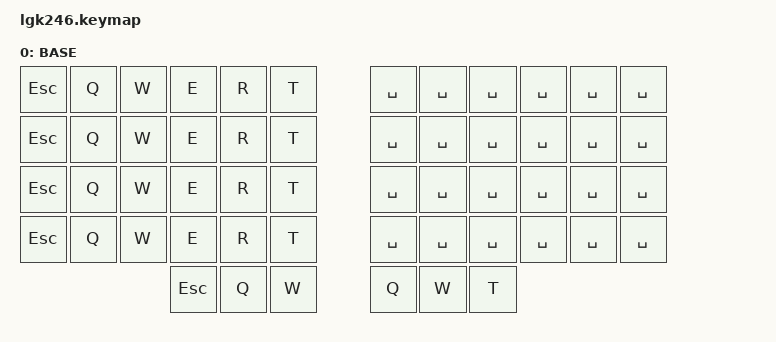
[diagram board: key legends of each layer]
//
//                                                        ▀▀▀▀▀     ▀▀▀▀▀          ▀▀█▀▀
//                                                        ▄▀▀▀▄  ▄  ▄▀▀▀▄  ▄  ▄▀▀▀▄  █  ▄▀▀▀▄
//                                                        █   █  █  █   █  █  █   █  █  █   █
//                                                         ▀▀▀   █   ▀▀▀   █   ▀▀▀   ▀   ▀▀▀
//                                                               █      ▄▄▄█▄▄▄    █   █  
//                                                               ▀      █  █  █     █▄█
//                                                             ▀▀▀▀▀    █  █  █      ▀
//                                                                      ▀  ▀  ▀
//
// ▄▄▄▄▄▄▄▄▄▄▄▄▄▄▄▄▄▄▄▄▄▄▄▄▄▄▄▄▄▄▄▄▄▄▄▄▄▄▄▄▄▄▄▄▄▄▄▄▄▄▄▄▄▄▄▄▄▄▄▄▄▄▄▄▄▄▄▄▄▄▄▄▄▄▄▄▄▄▄▄▄▄▄▄▄▄▄▄▄▄▄▄▄▄▄▄▄▄▄▄▄▄▄▄▄▄▄▄▄▄▄▄▄▄▄▄▄▄▄▄▄▄▄▄▄▄▄▄▄▄▄▄▄▄▄▄▄▄▄▄▄▄▄▄▄▄▄▄▄
       

#include <behaviors.dtsi>
#include <dt-bindings/zmk/keys.h>
#include <dt-bindings/zmk/bt.h>
#include <dt-bindings/zmk/outputs.h>

#define BASE 0


&mt {
  quick-tap-ms = <100>;
  global-quick-tap;
  flavor = "tap-preferred";
  tapping-term-ms = <170>;
};

/ {
    combos {
            compatible = "zmk,combos";
            combo_esc {
                timeout-ms = <50>;
                key-positions = <0 1>;
                bindings = <&kp ESC>;
            };
    };

    macros {
        gif: gif {
            label = "giphy";
            compatible = "zmk,behavior-macro";
            #binding-cells = <0>;
            bindings
                = <&macro_press &kp LSHFT>
                , <&macro_tap &kp N2>
                , <&macro_release &kp LSHFT>
                , <&macro_tap &kp G &kp I &kp F>
                ;
        };
    };

        keymap {
                compatible = "zmk,keymap";
// ▄▄▄▄▄▄▄▄▄▄▄▄▄▄▄▄▄▄▄▄▄▄▄▄▄▄▄▄▄▄▄▄▄▄▄▄▄▄▄▄▄▄▄▄▄▄▄▄▄▄▄▄▄▄▄▄▄▄▄▄▄▄▄▄▄▄▄▄▄▄▄▄▄▄▄▄▄▄▄▄▄▄▄▄▄▄▄▄▄▄▄▄▄▄▄▄▄▄▄▄▄▄▄▄▄▄▄▄▄▄▄▄▄▄▄▄▄▄▄▄▄▄▄▄▄▄▄▄▄▄▄▄▄▄▄▄▄▄▄▄▄▄▄▄▄▄▄▄▄

                base_layer {
// ┏━━━━━━━━━━━━━━━━━━━━━━━━━━━━━━━━━━━━━━━┓
label= "BASE"                              ;
// ┗━━━━━━━━━━━━━━━━━━━━━━━━━━━━━━━━━━━━━━━┛
// ┏━━━━━━━━━━━┳━━━━━━━━━━━┳━━━━━━━━━━━┳━━━━━━━━━━━┳━━━━━━━━━━━┳━━━━━━━━━━━┓   ┏━━━━━━━━━━━┳━━━━━━━━━━━┳━━━━━━━━━━━┳━━━━━━━━━━━┳━━━━━━━━━━━┳━━━━━━━━━━━┓
// ┃    ESC    ┃     Q     ┃     W     ┃     E     ┃     R     ┃     T     ┃   ┃    ESC    ┃     Q     ┃     W     ┃     E     ┃     R     ┃     T     ┃
// ┣━━━━━━━━━━━╋━━━━━━━━━━━╋━━━━━━━━━━━╋━━━━━━━━━━━╋━━━━━━━━━━━╋━━━━━━━━━━━┫   ┣━━━━━━━━━━━╋━━━━━━━━━━━╋━━━━━━━━━━━╋━━━━━━━━━━━╋━━━━━━━━━━━╋━━━━━━━━━━━┫
// ┃    TAB    ┃     A     ┃     S     ┃     D     ┃     F     ┃     G     ┃   ┃    TAB    ┃     A     ┃     S     ┃     D     ┃     F     ┃     G     ┃
// ┣━━━━━━━━━━━╋━━━━━━━━━━━╋━━━━━━━━━━━╋━━━━━━━━━━━╋━━━━━━━━━━━╋━━━━━━━━━━━┫   ┣━━━━━━━━━━━╋━━━━━━━━━━━╋━━━━━━━━━━━╋━━━━━━━━━━━╋━━━━━━━━━━━╋━━━━━━━━━━━┫
// ┃   SHIFT   ┃     Z     ┃     X     ┃     C     ┃     V     ┃     B     ┃   ┃   SHIFT   ┃     Z     ┃     X     ┃     C     ┃     V     ┃     B     ┃
// ┣━━━━━━━━━━━╋━━━━━━━━━━━╋━━━━━━━━━━━╋━━━━━━━━━━━╋━━━━━━━━━━━╋━━━━━━━━━━━┫   ┣━━━━━━━━━━━╋━━━━━━━━━━━╋━━━━━━━━━━━╋━━━━━━━━━━━╋━━━━━━━━━━━╋━━━━━━━━━━━┫
// ┃    CTRL   ┃    WIN    ┃    ALT    ┃     ?     ┃     ?     ┃   SPACE   ┃   ┃    CTRL   ┃    WIN    ┃    ALT    ┃     ?     ┃     ?     ┃   SPACE   ┃   
// ┣━━━━━━━━━━━╋━━━━━━━━━━━╋━━━━━━━━━━━╋━━━━━━━━━━━╋━━━━━━━━━━━╋━━━━━━━━━━━┫   ┣━━━━━━━━━━━╋━━━━━━━━━━━╋━━━━━━━━━━━╋━━━━━━━━━━━╋━━━━━━━━━━━╋━━━━━━━━━━━┫ 
// ┃  BUTTON1  ┃  BUTTON2  ┃  BUTTON3  ┃           ┃           ┃           ┃   ┃  BUTTON1  ┃  BUTTON2  ┃  BUTTON3  ┃           ┃           ┃           ┃ 
// ┗━━━━━━━━━━━┻━━━━━━━━━━━┻━━━━━━━━━━━┻━━━━━━━━━━━┻━━━━━━━━━━━┻━━━━━━━━━━━┛   ┗━━━━━━━━━━━┻━━━━━━━━━━━┻━━━━━━━━━━━┻━━━━━━━━━━━┻━━━━━━━━━━━┻━━━━━━━━━━━┛ 

 bindings = <
// ╷           ╷           ╷           ╷           ╷           ╷           ╷   ╷           ╷           ╷           ╷           ╷           ╷           ╷

    &kp ESCAPE  &kp Q       &kp W       &kp E       &kp R       &kp T           &kp SPACE   &kp SPACE   &kp SPACE   &kp SPACE   &kp SPACE   &kp SPACE
    &kp ESCAPE  &kp Q       &kp W       &kp E       &kp R       &kp T           &kp SPACE   &kp SPACE   &kp SPACE   &kp SPACE   &kp SPACE   &kp SPACE
    &kp ESCAPE  &kp Q       &kp W       &kp E       &kp R       &kp T           &kp SPACE   &kp SPACE   &kp SPACE   &kp SPACE   &kp SPACE   &kp SPACE
    &kp ESCAPE  &kp Q       &kp W       &kp E       &kp R       &kp T           &kp SPACE   &kp SPACE   &kp SPACE   &kp SPACE   &kp SPACE   &kp SPACE
    &kp ESCAPE  &kp Q       &kp W                                                                                   &kp Q       &kp W       &kp T

                        >;
                };
        };
};

